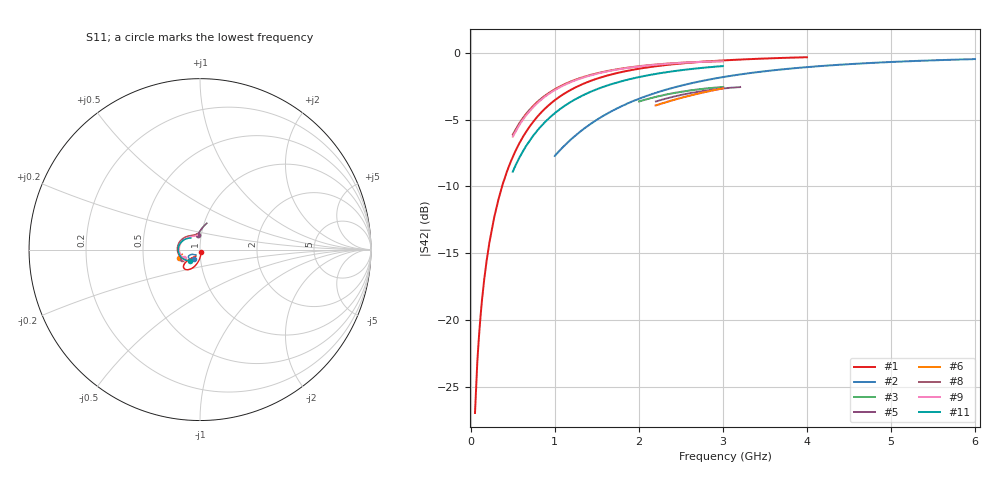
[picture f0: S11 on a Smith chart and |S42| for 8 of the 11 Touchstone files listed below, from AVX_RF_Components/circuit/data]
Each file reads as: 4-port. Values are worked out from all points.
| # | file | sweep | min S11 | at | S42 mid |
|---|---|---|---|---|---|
| 1 | CP0805LAS.s4p | 50 MHz to 4 GHz | -35.9 dB | 50 MHz | -1.2 dB at 2.027 GHz |
| 2 | DB0603N2140A.s4p | 1 GHz to 6 GHz | -28.2 dB | 5.985 GHz | -1.4 dB at 3.503 GHz |
| 3 | DB0603N2400A.s4p | 2.003 GHz to 3.005 GHz | -21.1 dB | 2.003 GHz | -2.9 dB at 2.504 GHz |
| 4 | DB0603N2500A.s4p | 2.2 GHz to 3 GHz | -19.2 dB | 2.987 GHz | -3.2 dB at 2.601 GHz |
| 5 | DB0603N2560A.s4p | 2.203 GHz to 3.205 GHz | -21.1 dB | 2.203 GHz | -2.9 dB at 2.704 GHz |
| 6 | DB0603N2600A.s4p | 2.2 GHz to 3 GHz | -19.4 dB | 2.978 GHz | -3.2 dB at 2.601 GHz |
| 7 | DB0603N3000A.s4p | 2 GHz to 4 GHz | -25.2 dB | 3.888 GHz | -3.0 dB at 3 GHz |
| 8 | DB0805A0880A.s4p | 500 MHz to 3 GHz | -20.7 dB | 2.536 GHz | -1.2 dB at 1.753 GHz |
| 9 | DB0805A0915A.s4p | 500 MHz to 3 GHz | -21.4 dB | 2.543 GHz | -1.3 dB at 1.753 GHz |
| 10 | DB0805A0967A.s4p | 500 MHz to 3 GHz | -23.3 dB | 2.467 GHz | -1.3 dB at 1.753 GHz |
| 11 | DB0805A1325A.s4p | 500 MHz to 3 GHz | -21.3 dB | 2.981 GHz | -2.2 dB at 1.753 GHz |
